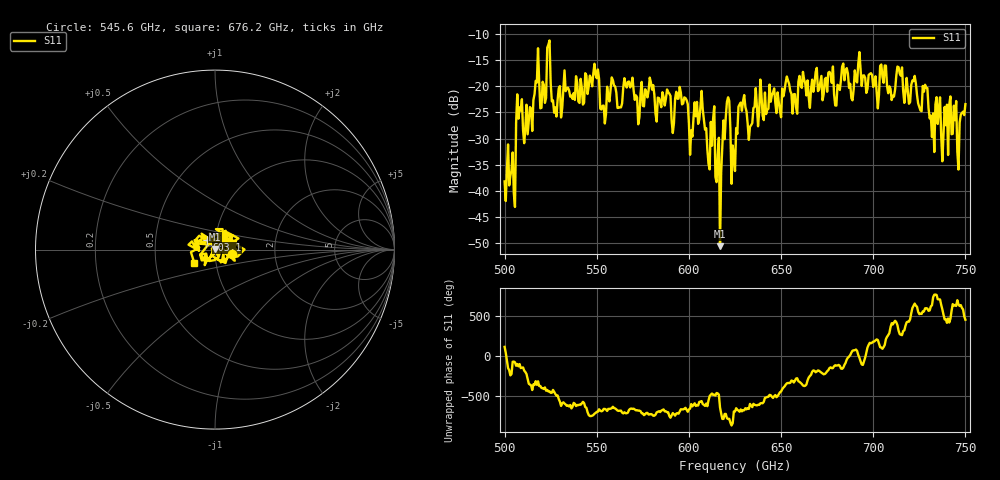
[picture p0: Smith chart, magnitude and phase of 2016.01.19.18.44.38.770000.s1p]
!Created with skrf (http://scikit-rf.org).
# GHz S RI R 50.0
!freq ReS11 ImS11
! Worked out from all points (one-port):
!   401 points, 500 GHz to 750 GHz, reference 50 ohm
!   lowest |S11| = -50.6 dB at 616.9 GHz (marker M1), VSWR 1.01, Z = 50.1 + j0.289 ohm
!   |S11| at or under -10 dB: start of sweep to end of sweep
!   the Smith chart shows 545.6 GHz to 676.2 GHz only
!   S11 on the Smith chart (normalised r, x): 545.6 GHz: 1.21, -0.07; 603.1 GHz: 0.91, +0.10; 676.2 GHz: 0.79, -0.12
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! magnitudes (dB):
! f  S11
! 500 GHz  -38.2
! 504.4 GHz  -32.7
! 508.1 GHz  -24.0
! 511.2 GHz  -28.1
! 517.5 GHz  -19.3
! 524.4 GHz  -11.2
! 531.2 GHz  -24.2
! 545.6 GHz  -20.0
! 562.5 GHz  -24.0
! 566.2 GHz  -20.2
! 593.8 GHz  -22.4
! 603.1 GHz  -23.1
! 616.9 GHz  -50.6
! 621.2 GHz  -22.1
! 623.8 GHz  -31.3
! 625 GHz  -36.2
! 628.8 GHz  -24.7
! 633.1 GHz  -27.8
! 656.2 GHz  -25.2
! 676.2 GHz  -17.2
! 687.5 GHz  -19.5
! 714.4 GHz  -17.6
! 718.8 GHz  -20.8
! 728.1 GHz  -19.7
! 731.9 GHz  -29.7
! 735 GHz  -27.2
! 738.1 GHz  -29.2
! 750 GHz  -23.4
